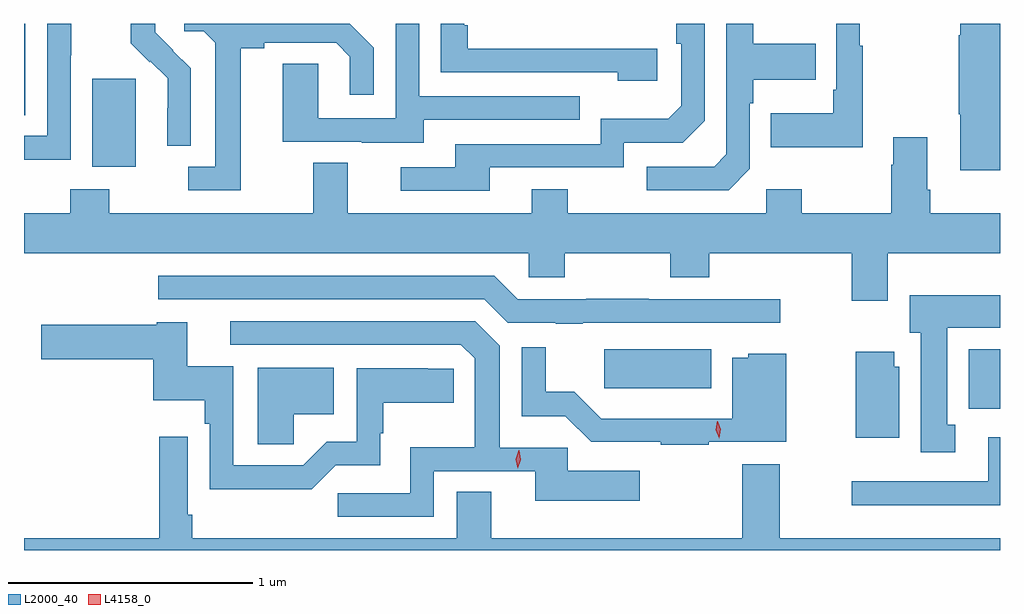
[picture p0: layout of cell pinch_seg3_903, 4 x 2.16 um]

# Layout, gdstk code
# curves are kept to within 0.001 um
import gdstk
lib = gdstk.Library(unit=1e-6, precision=1e-09)
def R(c, l, rs):  # rectangles x0, y0, x1, y1
    for r in rs: c.add(gdstk.rectangle(r[:2], r[2:], *l))
def P(c, l, *ps):  # polygons
    for p in ps: c.add(gdstk.Polygon(p, *l))
L2000_40 = (2000, 40)
L4158_0 = (4158, 0)

pinch_seg3_903 = lib.new_cell('pinch_seg3_903')
R(pinch_seg3_903, L2000_40, [(781.19,666.98,781.319,667.222), (779.697,667.064,780.136,667.222), (777.599,667.97,777.778,668.331), (777.319,668.182,777.325,668.556)])
P(pinch_seg3_903, L2000_40, [(777.51,668.428),(777.513,668.428),(777.513,668.556),(777.414,668.556),(777.414,668.097),(777.319,668.097),(777.319,667.999),(777.51,667.999)],
  [(780.294,667.962),(780.294,668.231),(780.307,668.231),(780.307,668.327),(780.563,668.327),(780.563,668.475),(780.307,668.475),(780.307,668.556),(780.198,668.556),(780.198,668.022),(780.147,667.971),(779.871,667.971),(779.871,667.875),(780.207,667.875)],
  [(781.319,668.556),(781.157,668.556),(781.157,668.51),(781.15,668.51),(781.15,668.187),(781.157,668.187),(781.157,667.956),(781.319,667.956)],
  [(779.227,667.968),(779.778,667.968),(779.778,668.07),(780.018,668.07),(780.108,668.16),(780.108,668.556),(779.992,668.556),(779.992,668.474),(780.012,668.474),(780.012,668.22),(779.959,668.167),(779.682,668.167),(779.682,668.064),(779.087,668.064),(779.087,667.968),(778.863,667.968),(778.863,667.872),(779.227,667.872)],
  [(780.757,668.467),(780.745,668.467),(780.745,668.556),(780.648,668.556),(780.648,668.287),(780.636,668.287),(780.636,668.191),(780.379,668.191),(780.379,668.051),(780.757,668.051)],
  [(778.207,668.456),(778.303,668.456),(778.303,668.478),(778.598,668.478),(778.655,668.421),(778.655,668.265),(778.752,668.265),(778.752,668.458),(778.654,668.556),(777.975,668.556),(777.975,668.526),(778.056,668.526),(778.103,668.479),(778.103,667.971),(777.993,667.971),(777.993,667.875),(778.207,667.875)],
  [(778.957,668.163),(779.597,668.163),(779.597,668.259),(778.938,668.259),(778.938,668.556),(778.842,668.556),(778.842,668.169),(778.524,668.169),(778.524,668.393),(778.379,668.393),(778.379,668.073),(778.703,668.073),(778.703,668.069),(778.957,668.069)],
  [(778.002,668.374),(777.856,668.522),(777.856,668.556),(777.757,668.556),(777.757,668.477),(777.834,668.4),(777.837,668.403),(777.908,668.333),(777.908,668.21),(777.906,668.21),(777.906,668.056),(778.002,668.056)],
  [(779.914,668.454),(779.137,668.454),(779.137,668.551),(779.124,668.551),(779.124,668.556),(779.028,668.556),(779.028,668.358),(779.753,668.358),(779.753,668.324),(779.914,668.324)],
  [(780.859,667.616),(781.319,667.616),(781.319,667.78),(781.034,667.78),(781.034,667.876),(781.021,667.876),(781.021,668.092),(780.881,668.092),(780.881,667.979),(780.874,667.979),(780.874,667.78),(780.507,667.78),(780.507,667.879),(780.36,667.879),(780.36,667.78),(779.547,667.78),(779.547,667.879),(779.399,667.879),(779.399,667.78),(778.645,667.78),(778.645,667.988),(778.505,667.988),(778.505,667.78),(777.669,667.78),(777.669,667.879),(777.509,667.879),(777.509,667.78),(777.319,667.78),(777.319,667.616),(779.388,667.616),(779.388,667.518),(779.535,667.518),(779.535,667.616),(779.968,667.616),(779.968,667.517),(780.128,667.517),(780.128,667.616),(780.712,667.616),(780.712,667.422),(780.859,667.422)],
  [(779.609,667.332),(780.418,667.332),(780.418,667.428),(779.879,667.428),(779.879,667.43),(779.623,667.43),(779.623,667.428),(779.343,667.428),(779.247,667.524),(777.87,667.524),(777.87,667.428),(779.205,667.428),(779.301,667.332),(779.498,667.332),(779.498,667.327),(779.609,667.327)],
  [(781.135,666.914),(781.102,666.914),(781.102,667.31),(781.319,667.31),(781.319,667.444),(780.95,667.444),(780.95,667.29),(780.995,667.29),(780.995,666.801),(781.135,666.801)],
  [(778.998,666.723),(779.414,666.723),(779.414,666.602),(779.842,666.602),(779.842,666.724),(779.548,666.724),(779.548,666.819),(779.269,666.819),(779.269,667.238),(779.169,667.338),(778.164,667.338),(778.164,667.242),(779.109,667.242),(779.166,667.185),(779.166,666.821),(778.902,666.821),(778.902,666.632),(778.605,666.632),(778.605,666.537),(778.998,666.537)],
  [(778.596,666.747),(778.779,666.747),(778.779,666.879),(778.792,666.879),(778.792,667.004),(779.08,667.004),(779.08,667.143),(778.683,667.144),(778.683,666.843),(778.56,666.843),(778.464,666.747),(778.176,666.747),(778.176,667.153),(777.988,667.153),(777.988,667.333),(777.864,667.333),(777.864,667.323),(777.39,667.323),(777.39,667.181),(777.848,667.181),(777.848,667.013),(778.06,667.013),(778.06,666.917),(778.08,666.917),(778.08,666.65),(778.499,666.65)],
  [(780.125,666.843),(780.442,666.843),(780.442,667.204),(780.288,667.204),(780.288,667.189),(780.221,667.189),(780.221,666.939),(779.685,666.939),(779.575,667.049),(779.457,667.049),(779.457,667.231),(779.358,667.231),(779.358,666.948),(779.538,666.948),(779.643,666.843),(779.929,666.843),(779.929,666.831),(780.125,666.831)],
  [(780.907,667.152),(780.886,667.152),(780.886,667.213),(780.728,667.213),(780.728,666.86),(780.907,666.86)],
  [(778.424,666.956),(778.588,666.956),(778.588,667.147),(778.277,667.147),(778.277,666.834),(778.424,666.834)],
  [(781.319,666.448),(780.417,666.448),(780.417,666.751),(780.262,666.751),(780.262,666.448),(779.233,666.448),(779.233,666.638),(779.093,666.638),(779.093,666.448),(778.009,666.448),(778.009,666.544),(777.991,666.544),(777.991,666.865),(777.873,666.865),(777.873,666.448),(777.319,666.448),(777.319,666.4),(781.319,666.4)],
  [(781.319,666.862),(781.271,666.862),(781.271,666.681),(780.711,666.681),(780.711,666.584),(781.319,666.584)])
P(pinch_seg3_903, L4158_0, [(779.343,666.736),(779.343,666.736),(779.335,666.773),(779.347,666.808),(779.347,666.808),(779.348,666.808),(779.355,666.771),(779.343,666.736)],
  [(780.168,666.859),(780.168,666.859),(780.155,666.892),(780.161,666.928),(780.162,666.928),(780.162,666.928),(780.175,666.894),(780.168,666.859)])

lib.write_gds('pinch_seg3_903.gds')
